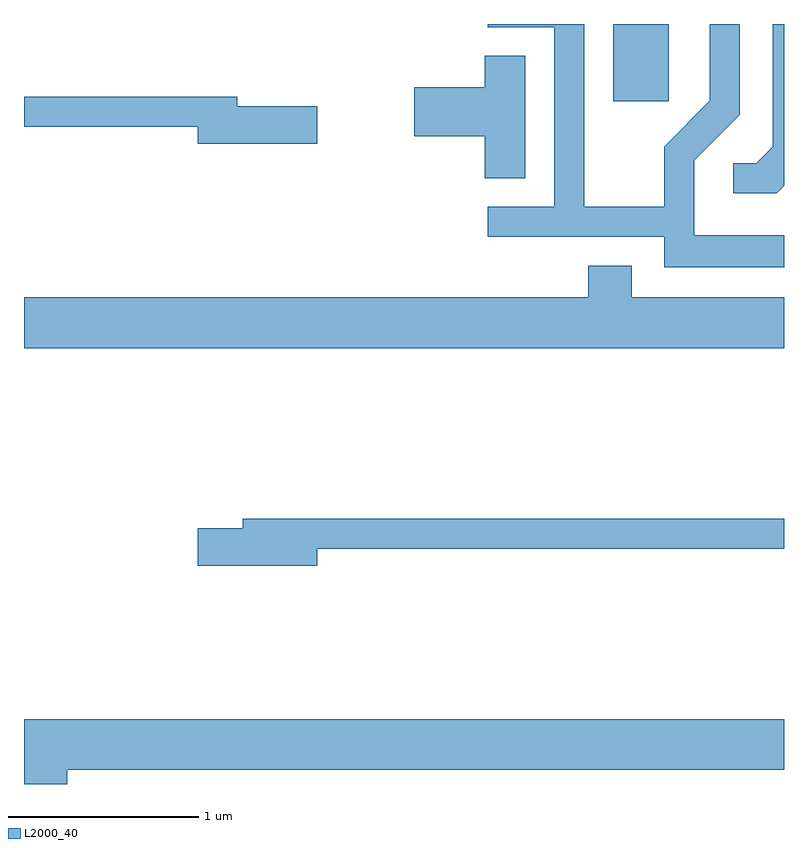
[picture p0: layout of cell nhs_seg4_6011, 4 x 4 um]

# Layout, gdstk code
import gdstk
lib = gdstk.Library(unit=1e-6, precision=1e-09)
def R(c, l, rs):  # rectangles x0, y0, x1, y1
    for r in rs: c.add(gdstk.rectangle(r[:2], r[2:], *l))
def P(c, l, *ps):  # polygons
    for p in ps: c.add(gdstk.Polygon(p, *l))
L2000_40 = (2000, 40)

nhs_seg4_6011 = lib.new_cell('nhs_seg4_6011')
R(nhs_seg4_6011, L2000_40, [(364.711,1311.576,365.004,1311.982)])
P(nhs_seg4_6011, L2000_40, [(365.611,1310.869),(365.139,1310.869),(365.139,1311.264),(365.379,1311.504),(365.379,1311.982),(365.221,1311.982),(365.221,1311.577),(364.981,1311.337),(364.981,1311.019),(364.559,1311.019),(364.559,1311.982),(364.053,1311.982),(364.053,1311.966),(364.401,1311.966),(364.401,1311.019),(364.053,1311.019),(364.053,1310.861),(364.981,1310.861),(364.981,1310.701),(365.611,1310.701)],
  [(365.611,1311.13),(365.611,1311.982),(365.551,1311.982),(365.551,1311.337),(365.464,1311.249),(365.343,1311.249),(365.343,1311.091),(365.572,1311.091)],
  [(364.249,1311.814),(364.036,1311.814),(364.036,1311.649),(363.666,1311.649),(363.666,1311.391),(364.036,1311.391),(364.036,1311.171),(364.249,1311.171)],
  [(363.154,1311.549),(362.734,1311.549),(362.734,1311.599),(361.611,1311.599),(361.611,1311.441),(362.526,1311.441),(362.526,1311.351),(363.154,1311.351)],
  [(365.611,1310.544),(364.809,1310.544),(364.809,1310.709),(364.581,1310.709),(364.581,1310.544),(361.611,1310.544),(361.611,1310.276),(365.611,1310.276)],
  [(363.154,1309.221),(365.611,1309.221),(365.611,1309.379),(362.761,1309.379),(362.761,1309.329),(362.526,1309.329),(362.526,1309.131),(363.154,1309.131)],
  [(361.839,1308.056),(365.611,1308.056),(365.611,1308.324),(361.611,1308.324),(361.611,1307.982),(361.839,1307.982)])

lib.write_gds('nhs_seg4_6011.gds')
